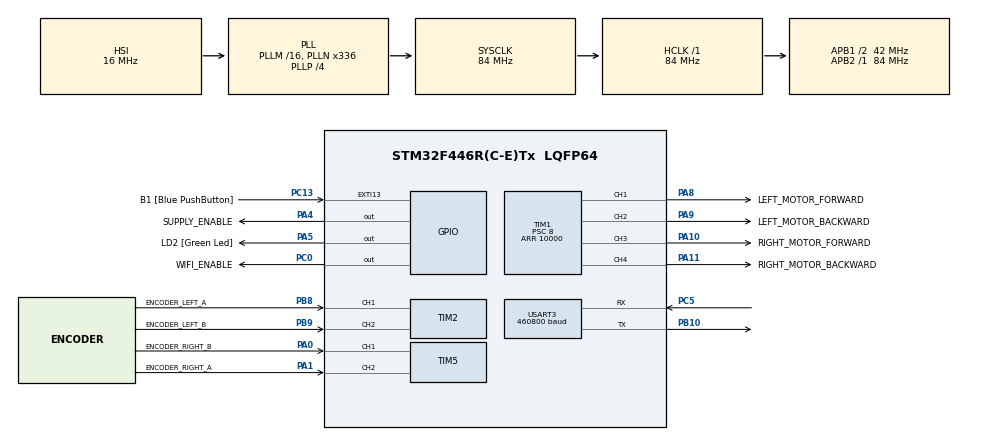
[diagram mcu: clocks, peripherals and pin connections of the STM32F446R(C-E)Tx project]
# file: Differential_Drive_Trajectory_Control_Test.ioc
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Mcu.Family=STM32F4
PH0-OSC_IN.Signal=RCC_OSC_IN
SH.S_TIM1_CH4.0=TIM1_CH4,PWM Generation4 CH4
RCC.CortexFreq_Value=84000000
PB10.Mode=Asynchronous
PA14.GPIO_Label=TCK
TIM5.EncoderMode=TIM_ENCODERMODE_TI1
SH.S_TIM5_CH2.0=TIM5_CH2,Encoder_Interface
PC0.GPIO_Label=WIFI_ENABLE
TIM2.EncoderMode=TIM_ENCODERMODE_TI1
PC5.Mode=Asynchronous
PC13.GPIO_Label=B1 [Blue PushButton]
RCC.SYSCLKSource=RCC_SYSCLKSOURCE_PLLCLK
ProjectManager.StackSize=0x400
TIM1.Prescaler=8
USART3.BaudRate=460800
TIM1.Channel-PWM\ Generation4\ CH4=TIM_CHANNEL_4
RCC.HCLKFreq_Value=84000000
RCC.APB2TimFreq_Value=84000000
TIM3.Period=1000-1
RCC.AHBFreq_Value=84000000
PH0-OSC_IN.Mode=HSE-External-Oscillator
RCC.HSE_VALUE=8000000
PA4.GPIO_PuPd=GPIO_NOPULL
PC14-OSC32_IN.Mode=LSE-External-Oscillator
TIM1.Channel-PWM\ Generation1\ CH1=TIM_CHANNEL_1
PA14.Mode=Serial_Wire
TIM3.Prescaler=840-1
PA10.GPIO_Label=RIGHT_MOTOR_FORWARD
Dma.USART3_TX.0.FIFOMode=DMA_FIFOMODE_DISABLE
PA8.Signal=S_TIM1_CH1
Dma.USART3_TX.0.Mode=DMA_NORMAL
TIM5.IC1Filter=15
Dma.USART3_TX.0.PeriphInc=DMA_PINC_DISABLE
RCC.FLatency-AdvancedSettings=FLASH_LATENCY_2
Dma.USART3_TX.0.MemDataAlignment=DMA_MDATAALIGN_BYTE
PH1-OSC_OUT.Mode=HSE-External-Oscillator
Mcu.Package=LQFP64
PB9.Signal=S_TIM2_CH2
PA2.GPIO_Label=USART_TX
PA10.Signal=S_TIM1_CH3
PA15.Signal=UART4_RTS
Dma.USART3_TX.0.PeriphDataAlignment=DMA_PDATAALIGN_BYTE
RCC.APB1TimFreq_Value=84000000
SH.S_TIM5_CH1.0=TIM5_CH1,Encoder_Interface
PC5.Signal=USART3_RX
TIM1.Period=10000
Dma.Request0=USART3_TX
PA4.GPIO_Label=SUPPLY_ENABLE
VP_TIM3_VS_ClockSourceINT.Mode=Internal
PA3.Signal=USART2_RX
PB3.GPIO_Label=SWO
PC15-OSC32_OUT.Mode=LSE-External-Oscillator
Dma.USART3_TX.0.Instance=DMA1_Stream3
TIM5.IC2Filter=15
PB9.GPIO_Label=ENCODER_LEFT_B
TIM2.IC1Filter=15
Dma.USART3_TX.0.MemInc=DMA_MINC_ENABLE
PC13.Signal=GPXTI13
PA9.GPIO_Label=LEFT_MOTOR_BACKWARD
PA11.GPIO_Label=RIGHT_MOTOR_BACKWARD
PC0.Signal=GPIO_Output
RCC.APB1CLKDivider=RCC_HCLK_DIV2
PC14-OSC32_IN.Signal=RCC_OSC32_IN
Dma.USART3_TX.0.Direction=DMA_MEMORY_TO_PERIPH
PA0-WKUP.GPIO_Label=ENCODER_RIGHT_B
PA0-WKUP.Signal=S_TIM5_CH1
PA13.Signal=SYS_JTMS-SWDIO
PB8.GPIO_Label=ENCODER_LEFT_A
SH.S_TIM2_CH2.0=TIM2_CH2,Encoder_Interface
PA8.GPIO_Label=LEFT_MOTOR_FORWARD
SH.S_TIM1_CH1.0=TIM1_CH1,PWM Generation1 CH1
ProjectManager.TargetToolchain=STM32CubeIDE
PA9.Signal=S_TIM1_CH2
TIM1.Channel-PWM\ Generation2\ CH2=TIM_CHANNEL_2
RCC.USBFreq_Value=168000000
PC15-OSC32_OUT.Signal=RCC_OSC32_OUT
PA1.Signal=S_TIM5_CH2
PB10.Signal=USART3_TX
PA5.Signal=GPIO_Output
board=NUCLEO-F446RE
RCC.VCOOutputFreq_Value=336000000
NVIC.TIM3_IRQn=true\:0\:0\:false\:false\:true\:true\:true
RCC.APB2Freq_Value=84000000
SH.S_TIM1_CH2.0=TIM1_CH2,PWM Generation2 CH2
PA1.GPIO_Label=ENCODER_RIGHT_A
PH1-OSC_OUT.Signal=RCC_OSC_OUT
Dma.USART3_TX.0.Priority=DMA_PRIORITY_HIGH
PA13.Mode=Serial_Wire
Mcu.Name=STM32F446R(C-E)Tx
PA13.GPIO_Label=TMS
PA2.Signal=USART2_TX
RCC.48MHZClocksFreq_Value=84000000
PB3.Signal=SYS_JTDO-SWO
PA4.Signal=GPIO_Output
RCC.SYSCLKFreq_VALUE=84000000
PA5.GPIO_Label=LD2 [Green Led]
PC13.GPIO_ModeDefaultEXTI=GPIO_MODE_IT_FALLING
USART3.VirtualMode=VM_ASYNC
PA11.Signal=S_TIM1_CH4
SH.S_TIM2_CH1_ETR.0=TIM2_CH1,Encoder_Interface
PA14.Signal=SYS_JTCK-SWCLK
ProjectManager.HeapSize=0x200
SH.S_TIM1_CH3.0=TIM1_CH3,PWM Generation3 CH3
RCC.HSI_VALUE=16000000
RCC.PLLP=RCC_PLLP_DIV4
NVIC.PriorityGroup=NVIC_PRIORITYGROUP_4
RCC.PLLN=336
PB8.Signal=S_TIM2_CH1_ETR
NVIC.DMA1_Stream3_IRQn=true\:0\:0\:false\:false\:true\:false\:true
TIM1.Channel-PWM\ Generation3\ CH3=TIM_CHANNEL_3
RCC.APB1Freq_Value=42000000
TIM2.IC2Filter=15
PA3.GPIO_Label=USART_RX

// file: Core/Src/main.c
/* USER CODE BEGIN Header */
/**
  ******************************************************************************
  * @file           : main.c
  * @brief          : Main program body
  ******************************************************************************
  * @attention
  *
  * <h2><center>&copy; Copyright (c) 2021 STMicroelectronics.
  * All rights reserved.</center></h2>
  *
  * This software component is licensed by ST under BSD 3-Clause license,
  * the "License"; You may not use this file except in compliance with the
  * License. You may obtain a copy of the License at:
  *                        opensource.org/licenses/BSD-3-Clause
  *
  ******************************************************************************
  */
/* USER CODE END Header */
#include "main.h"

/* USER CODE BEGIN Includes */

#include "my_lib/differential_drive.h"
#include "my_lib/retarget.h"
#include "my_lib/datastream.h"

#include "my_data/idinput.h"
#include "my_data/reference.h"
#include "my_data/identification.h"

#include <stdio.h>
#include <stdlib.h>

#include "arm_math.h"
/* USER CODE END Includes */

/* USER CODE BEGIN PD */

/*---------- DEFINES used to change code behavior ---------------------------*/

/* Only Sensor check (uncomment below, highest priority) */
//#define SENSOR_CHECK

/* Using a trajectory to be followed */
#define TRAJECTORY_TRACKING

/* Using an input voltage for motors identification */
#define IDENTIFICATION

// Priority to trajectory tracking behavior respect of identification
#ifdef TRAJECTORY_TRACKING
#undef IDENTIFICATION
#endif /* TRAJECTORY_TRACKING */

#ifdef IDENTIFICATION

// Just one of these defines uncommented
//#define TRIANGLE_INPUT
#define SMOOTH_INPUT

#endif /* IDENTIFICATION */

/* ---------------------------------------------------------------------------*/

/* USER CODE END PD */

TIM_HandleTypeDef htim1;
TIM_HandleTypeDef htim2;
TIM_HandleTypeDef htim3;
TIM_HandleTypeDef htim5;

UART_HandleTypeDef huart3;
DMA_HandleTypeDef hdma_usart3_tx;

/* USER CODE BEGIN PV */

DIFFDRIVE_HandleTypeDef hdiffdrive;

// Debug variable
int check= 0;

/* USER CODE END PV */

void SystemClock_Config(void);
static void MX_GPIO_Init(void);
static void MX_DMA_Init(void);
static void MX_TIM2_Init(void);
static void MX_TIM1_Init(void);
static void MX_TIM3_Init(void);
static void MX_TIM5_Init(void);
static void MX_USART3_UART_Init(void);
/* USER CODE BEGIN PFP */

static void MAIN_DIFFDRIVE_Init(void);

/* USER CODE END PFP */

int main(void)
{

  /* MCU Configuration--------------------------------------------------------*/

  /* Reset of all peripherals, Initializes the Flash interface and the Systick. */
  HAL_Init();

  /* Configure the system clock */
  SystemClock_Config();

  /* Initialize all configured peripherals */
  MX_GPIO_Init();
  MX_DMA_Init();
  MX_TIM2_Init();
  MX_TIM1_Init();
  MX_TIM3_Init();
  MX_TIM5_Init();
  MX_USART3_UART_Init();
  /* USER CODE BEGIN 2 */

  DATASTREAM_Init(&huart3);

  MAIN_DIFFDRIVE_Init();

#ifdef TRAJECTORY_TRACKING

  // Wait until blue button is pressed
  while( HAL_GPIO_ReadPin(B1_GPIO_Port, B1_Pin) )
  		;

  // Enable WIFI to send/receive values
  HAL_GPIO_WritePin(WIFI_ENABLE_GPIO_Port, WIFI_ENABLE_Pin, GPIO_PIN_SET);

  // Wait for ESP boot
  HAL_Delay(3000);

  // Rapidly flash led to show MCU ready to send values
  for(int i=0; i<20; i++){
	  HAL_GPIO_TogglePin(LD2_GPIO_Port, LD2_Pin);
	  HAL_Delay(50);
  }

  // Wait for 10 received chars
  char ch[10];
  HAL_UART_Receive(&huart3, (uint8_t*) ch, sizeof(ch), HAL_MAX_DELAY);

  // LED on
  HAL_GPIO_WritePin(LD2_GPIO_Port, LD2_Pin, GPIO_PIN_SET);

  // Wait a bit more
  HAL_Delay(3000);

  // LED off
  HAL_GPIO_WritePin(LD2_GPIO_Port, LD2_Pin, GPIO_PIN_RESET);

#endif /* TRAJECTORY_TRACKING */

  // HAL_TIM_Base_Start_IT(&htim3);

  /* USER CODE END 2 */

  /* Infinite loop */
  /* USER CODE BEGIN WHILE */

#ifdef IDENTIFICATION

  // Allocating input vectors
  float **input= (float**)malloc(sizeof(float*)*2);
  for(int i=0; i<2; i++)
	  input[i]= (float*)malloc(sizeof(float)*N_SAMPLE_ID);

#ifdef TRIANGLE_INPUT

  for(int i=0; i<N_SAMPLE_ID; i++){
	  input[left ][i]= TRIANGLE_input_L[i]*MOTOR_MAX_VOLTAGE;
	  input[right][i]= TRIANGLE_input_R[i]*MOTOR_MAX_VOLTAGE;
  }

#endif /* TRIANGLE_INPUT */

#ifdef SMOOTH_INPUT

  for(int i=0; i<N_SAMPLE_ID; i++){
	  input[left ][i]= SMOOTH_input_L[i]*MOTOR_MAX_VOLTAGE;
	  input[right][i]= SMOOTH_input_R[i]*MOTOR_MAX_VOLTAGE;
  }

#endif /*SMOOTH_INPUT */

#endif /* IDENTIFICATION */

#ifdef SENSOR_CHECK
  int i=0;
#else
  // Enabling motion
  bool motion_flag= true;
#endif /* SENSOR_CHECK */

  // Wait until the blue button is pressed
  while( HAL_GPIO_ReadPin(B1_GPIO_Port, B1_Pin) )
	  __NOP();

  HAL_Delay(1000);

  // Reset Sensors
  DIFFDRIVE_ENCODER_Reset();

  while (1)
  {

#ifdef SENSOR_CHECK

      DIFFDRIVE_ENCODER_CaptureMeasure();

	  if( !(i%100) )
		  DIFFDRIVE_MOTOR_SetPWMs((float[2]){ -MOTOR_MAX_VOLTAGE*0.5, -MOTOR_MAX_VOLTAGE*0.5});
	  if( !(i%150) )
		  DIFFDRIVE_MOTOR_SetPWMs((float[2]){ -MOTOR_MAX_VOLTAGE*0.7, -MOTOR_MAX_VOLTAGE*0.7});

	  printf("%f\t", __DIFFDRIVE_ENCODER_GET_CURRENT_VALUE(&hdiffdrive,left ));
	  printf("%f\n", __DIFFDRIVE_ENCODER_GET_CURRENT_VALUE(&hdiffdrive,right));

	  HAL_Delay(10);

	  i++;

	  DATASTREAM_SendValue(
			  stream_on_terminal, 4,
			  "L Counter %f\n", __DIFFDRIVE_ENCODER_GET_CURRENT_VALUE(&hdiffdrive,left ),
			  "R Counter %f\n", __DIFFDRIVE_ENCODER_GET_CURRENT_VALUE(&hdiffdrive,right)
	  );
	  HAL_Delay(500);

#else

	if( motion_flag ){

#ifdef TRAJECTORY_TRACKING

		// First values send is the actual number of samples
		DATASTREAM_SendValue(stream_on_matlab, 1, (double)N_SAMPLE_REF);
		// Bit of transfer delay
		HAL_Delay(8);

		DIFFDRIVE_TrackingStart();

		for(int i= 0; i<N_SAMPLE_REF; i++){
			// Make a control step
			DIFFDRIVE_TrackingStep(DELTA_A_ref[i], DELTA_THETA_ref[i]);

			// Temporary variables
			DIFFDRIVE_STATE_TypeDef state_measure, state_target;

			// Get one state sample from history
			DIFFDRIVE_HISTORY_Get_Sample(&state_measure, &state_target);

			// Send values to serial connected to ESP WiFi module
			DATASTREAM_SendValue(
					stream_on_matlab, 14,
					state_measure.input[left], state_measure.input[right],
					state_target .input[left], state_target .input[right],
					state_measure.wheel[left], state_measure.wheel[right],
					state_target .wheel[left], state_target .wheel[right],
					state_measure.pose.x_a,    state_measure.pose.y_a,
					state_measure.pose.theta,
					state_target .pose.x_a,    state_target.pose.y_a,
					state_target .pose.theta
			);

		}

		// Stop differential drive
		DIFFDRIVE_TrackingStop();

		// Disable WiFi
		HAL_GPIO_WritePin(WIFI_ENABLE_GPIO_Port, WIFI_ENABLE_Pin, GPIO_PIN_RESET);

#endif /* TRAJECTORY_TRACKING */

#ifdef IDENTIFICATION

		DIFFDRIVE_InputArray(N_SAMPLE_ID, input);

#endif /* IDENTIFICATION */

		// Stop motion
		motion_flag= false;

	}
	else{

		// Start sending values Task if blue button is pressed
		if( !HAL_GPIO_ReadPin(B1_GPIO_Port, B1_Pin) ){

			// Enable WIFI to send/receive values
			HAL_GPIO_WritePin(WIFI_ENABLE_GPIO_Port, WIFI_ENABLE_Pin, GPIO_PIN_SET);

			// Wait for ESP boot
			HAL_Delay(3000);

			// Rapidly flash led to show MCU ready to send values
			for(int i=0; i<20; i++){
				HAL_GPIO_TogglePin(LD2_GPIO_Port, LD2_Pin);
				HAL_Delay(50);
			}

			// Wait for 10 received chars
			char ch[10];
			HAL_UART_Receive(&huart3, (uint8_t*) ch, sizeof(ch), HAL_MAX_DELAY);

			// LED on
			HAL_GPIO_WritePin(LD2_GPIO_Port, LD2_Pin, GPIO_PIN_SET);

			// Wait a bit more
			HAL_Delay(3000);

			// LED off
			HAL_GPIO_WritePin(LD2_GPIO_Port, LD2_Pin, GPIO_PIN_RESET);

			// History struct
			DIFFDRIVE_HISTORY_TypeDef tmphist= hdiffdrive.history;

			// Number of saved samples
			uint32_t N_sample;
			if( tmphist.sample_cnt < tmphist.max_sample )
				N_sample=  tmphist.sample_cnt;
			else
				N_sample=  tmphist.max_sample;

			// First values send is the actual number of samples
			DATASTREAM_SendValue(stream_on_matlab, 1, (double)N_sample);
			// Bit of transfer delay
			HAL_Delay(8);

			// Init History Get function
			DIFFDRIVE_HISTORY_Get_Init();

			for(int k= 0; k < N_sample; k++){
				// Temporary variables
				DIFFDRIVE_STATE_TypeDef state_measure, state_target;

				// Get one state sample from history
				DIFFDRIVE_HISTORY_Get_Sample(&state_measure, &state_target);

				// Send values to serial connected to ESP WiFi module
				DATASTREAM_SendValue(
						stream_on_matlab, 14,
						state_measure.input[left], state_measure.input[right],
						state_target .input[left], state_target .input[right],
						state_measure.wheel[left], state_measure.wheel[right],
						state_target .wheel[left], state_target .wheel[right],
						state_measure.pose.x_a,    state_measure.pose.y_a,
						state_measure.pose.theta,
						state_target .pose.x_a,    state_target.pose.y_a,
						state_target .pose.theta
				);
				// Bit of transfer delay
				HAL_Delay(8);
				// Toggling led to show data transfer operation
				if( !(k%50) )
					HAL_GPIO_TogglePin(LD2_GPIO_Port, LD2_Pin);
			}

			// Turn off LED
			HAL_GPIO_WritePin(LD2_GPIO_Port, LD2_Pin, GPIO_PIN_RESET);

			// Disable WiFi
			HAL_GPIO_WritePin(WIFI_ENABLE_GPIO_Port, WIFI_ENABLE_Pin, GPIO_PIN_RESET);

		}
	}

#endif /* SENSOR_CHECK */

    /* USER CODE END WHILE */

  }
}

void SystemClock_Config(void)
{
  RCC_OscInitTypeDef RCC_OscInitStruct = {0};
  RCC_ClkInitTypeDef RCC_ClkInitStruct = {0};

  /** Configure the main internal regulator output voltage
  */
  __HAL_RCC_PWR_CLK_ENABLE();
  __HAL_PWR_VOLTAGESCALING_CONFIG(PWR_REGULATOR_VOLTAGE_SCALE3);
  /** Initializes the RCC Oscillators according to the specified parameters
  * in the RCC_OscInitTypeDef structure.
  */
  RCC_OscInitStruct.OscillatorType = RCC_OSCILLATORTYPE_HSI;
  RCC_OscInitStruct.HSIState = RCC_HSI_ON;
  RCC_OscInitStruct.HSICalibrationValue = RCC_HSICALIBRATION_DEFAULT;
  RCC_OscInitStruct.PLL.PLLState = RCC_PLL_ON;
  RCC_OscInitStruct.PLL.PLLSource = RCC_PLLSOURCE_HSI;
  RCC_OscInitStruct.PLL.PLLM = 16;
  RCC_OscInitStruct.PLL.PLLN = 336;
  RCC_OscInitStruct.PLL.PLLP = RCC_PLLP_DIV4;
  RCC_OscInitStruct.PLL.PLLQ = 2;
  RCC_OscInitStruct.PLL.PLLR = 2;
  if (HAL_RCC_OscConfig(&RCC_OscInitStruct) != HAL_OK)
  {
    Error_Handler();
  }
  /** Initializes the CPU, AHB and APB buses clocks
  */
  RCC_ClkInitStruct.ClockType = RCC_CLOCKTYPE_HCLK|RCC_CLOCKTYPE_SYSCLK
                              |RCC_CLOCKTYPE_PCLK1|RCC_CLOCKTYPE_PCLK2;
  RCC_ClkInitStruct.SYSCLKSource = RCC_SYSCLKSOURCE_PLLCLK;
  RCC_ClkInitStruct.AHBCLKDivider = RCC_SYSCLK_DIV1;
  RCC_ClkInitStruct.APB1CLKDivider = RCC_HCLK_DIV2;
  RCC_ClkInitStruct.APB2CLKDivider = RCC_HCLK_DIV1;

  if (HAL_RCC_ClockConfig(&RCC_ClkInitStruct, FLASH_LATENCY_2) != HAL_OK)
  {
    Error_Handler();
  }
}

static void MX_TIM1_Init(void)
{

  TIM_MasterConfigTypeDef sMasterConfig = {0};
  TIM_OC_InitTypeDef sConfigOC = {0};
  TIM_BreakDeadTimeConfigTypeDef sBreakDeadTimeConfig = {0};

  htim1.Instance = TIM1;
  htim1.Init.Prescaler = 8;
  htim1.Init.CounterMode = TIM_COUNTERMODE_UP;
  htim1.Init.Period = 10000;
  htim1.Init.ClockDivision = TIM_CLOCKDIVISION_DIV1;
  htim1.Init.RepetitionCounter = 0;
  htim1.Init.AutoReloadPreload = TIM_AUTORELOAD_PRELOAD_DISABLE;
  if (HAL_TIM_PWM_Init(&htim1) != HAL_OK)
  {
    Error_Handler();
  }
  sMasterConfig.MasterOutputTrigger = TIM_TRGO_RESET;
  sMasterConfig.MasterSlaveMode = TIM_MASTERSLAVEMODE_DISABLE;
  if (HAL_TIMEx_MasterConfigSynchronization(&htim1, &sMasterConfig) != HAL_OK)
  {
    Error_Handler();
  }
  sConfigOC.OCMode = TIM_OCMODE_PWM1;
  sConfigOC.Pulse = 0;
  sConfigOC.OCPolarity = TIM_OCPOLARITY_HIGH;
  sConfigOC.OCNPolarity = TIM_OCNPOLARITY_HIGH;
  sConfigOC.OCFastMode = TIM_OCFAST_DISABLE;
  sConfigOC.OCIdleState = TIM_OCIDLESTATE_RESET;
  sConfigOC.OCNIdleState = TIM_OCNIDLESTATE_RESET;
  if (HAL_TIM_PWM_ConfigChannel(&htim1, &sConfigOC, TIM_CHANNEL_1) != HAL_OK)
  {
    Error_Handler();
  }
  if (HAL_TIM_PWM_ConfigChannel(&htim1, &sConfigOC, TIM_CHANNEL_2) != HAL_OK)
  {
    Error_Handler();
  }
  if (HAL_TIM_PWM_ConfigChannel(&htim1, &sConfigOC, TIM_CHANNEL_3) != HAL_OK)
  {
    Error_Handler();
  }
  if (HAL_TIM_PWM_ConfigChannel(&htim1, &sConfigOC, TIM_CHANNEL_4) != HAL_OK)
  {
    Error_Handler();
  }
  sBreakDeadTimeConfig.OffStateRunMode = TIM_OSSR_DISABLE;
  sBreakDeadTimeConfig.OffStateIDLEMode = TIM_OSSI_DISABLE;
  sBreakDeadTimeConfig.LockLevel = TIM_LOCKLEVEL_OFF;
  sBreakDeadTimeConfig.DeadTime = 0;
  sBreakDeadTimeConfig.BreakState = TIM_BREAK_DISABLE;
  sBreakDeadTimeConfig.BreakPolarity = TIM_BREAKPOLARITY_HIGH;
  sBreakDeadTimeConfig.AutomaticOutput = TIM_AUTOMATICOUTPUT_DISABLE;
  if (HAL_TIMEx_ConfigBreakDeadTime(&htim1, &sBreakDeadTimeConfig) != HAL_OK)
  {
    Error_Handler();
  }
  HAL_TIM_MspPostInit(&htim1);

}

static void MX_TIM2_Init(void)
{

  TIM_Encoder_InitTypeDef sConfig = {0};
  TIM_MasterConfigTypeDef sMasterConfig = {0};

  htim2.Instance = TIM2;
  htim2.Init.Prescaler = 0;
  htim2.Init.CounterMode = TIM_COUNTERMODE_UP;
  htim2.Init.Period = 4294967295;
  htim2.Init.ClockDivision = TIM_CLOCKDIVISION_DIV1;
  htim2.Init.AutoReloadPreload = TIM_AUTORELOAD_PRELOAD_DISABLE;
  sConfig.EncoderMode = TIM_ENCODERMODE_TI1;
  sConfig.IC1Polarity = TIM_ICPOLARITY_RISING;
  sConfig.IC1Selection = TIM_ICSELECTION_DIRECTTI;
  sConfig.IC1Prescaler = TIM_ICPSC_DIV1;
  sConfig.IC1Filter = 15;
  sConfig.IC2Polarity = TIM_ICPOLARITY_RISING;
  sConfig.IC2Selection = TIM_ICSELECTION_DIRECTTI;
  sConfig.IC2Prescaler = TIM_ICPSC_DIV1;
  sConfig.IC2Filter = 15;
  if (HAL_TIM_Encoder_Init(&htim2, &sConfig) != HAL_OK)
  {
    Error_Handler();
  }
  sMasterConfig.MasterOutputTrigger = TIM_TRGO_RESET;
  sMasterConfig.MasterSlaveMode = TIM_MASTERSLAVEMODE_DISABLE;
  if (HAL_TIMEx_MasterConfigSynchronization(&htim2, &sMasterConfig) != HAL_OK)
  {
    Error_Handler();
  }

}

static void MX_TIM3_Init(void)
{

  TIM_ClockConfigTypeDef sClockSourceConfig = {0};
  TIM_MasterConfigTypeDef sMasterConfig = {0};

  htim3.Instance = TIM3;
  htim3.Init.Prescaler = 840-1;
  htim3.Init.CounterMode = TIM_COUNTERMODE_UP;
  htim3.Init.Period = 1000-1;
  htim3.Init.ClockDivision = TIM_CLOCKDIVISION_DIV1;
  htim3.Init.AutoReloadPreload = TIM_AUTORELOAD_PRELOAD_DISABLE;
  if (HAL_TIM_Base_Init(&htim3) != HAL_OK)
  {
    Error_Handler();
  }
  sClockSourceConfig.ClockSource = TIM_CLOCKSOURCE_INTERNAL;
  if (HAL_TIM_ConfigClockSource(&htim3, &sClockSourceConfig) != HAL_OK)
  {
    Error_Handler();
  }
  sMasterConfig.MasterOutputTrigger = TIM_TRGO_RESET;
  sMasterConfig.MasterSlaveMode = TIM_MASTERSLAVEMODE_DISABLE;
  if (HAL_TIMEx_MasterConfigSynchronization(&htim3, &sMasterConfig) != HAL_OK)
  {
    Error_Handler();
  }

}

static void MX_TIM5_Init(void)
{

  TIM_Encoder_InitTypeDef sConfig = {0};
  TIM_MasterConfigTypeDef sMasterConfig = {0};

  htim5.Instance = TIM5;
  htim5.Init.Prescaler = 0;
  htim5.Init.CounterMode = TIM_COUNTERMODE_UP;
  htim5.Init.Period = 4294967295;
  htim5.Init.ClockDivision = TIM_CLOCKDIVISION_DIV1;
  htim5.Init.AutoReloadPreload = TIM_AUTORELOAD_PRELOAD_DISABLE;
  sConfig.EncoderMode = TIM_ENCODERMODE_TI1;
  sConfig.IC1Polarity = TIM_ICPOLARITY_RISING;
  sConfig.IC1Selection = TIM_ICSELECTION_DIRECTTI;
  sConfig.IC1Prescaler = TIM_ICPSC_DIV1;
  sConfig.IC1Filter = 15;
  sConfig.IC2Polarity = TIM_ICPOLARITY_RISING;
  sConfig.IC2Selection = TIM_ICSELECTION_DIRECTTI;
  sConfig.IC2Prescaler = TIM_ICPSC_DIV1;
  sConfig.IC2Filter = 15;
  if (HAL_TIM_Encoder_Init(&htim5, &sConfig) != HAL_OK)
  {
    Error_Handler();
  }
  sMasterConfig.MasterOutputTrigger = TIM_TRGO_RESET;
  sMasterConfig.MasterSlaveMode = TIM_MASTERSLAVEMODE_DISABLE;
  if (HAL_TIMEx_MasterConfigSynchronization(&htim5, &sMasterConfig) != HAL_OK)
  {
    Error_Handler();
  }

}

static void MX_USART3_UART_Init(void)
{

  huart3.Instance = USART3;
  huart3.Init.BaudRate = 460800;
  huart3.Init.WordLength = UART_WORDLENGTH_8B;
  huart3.Init.StopBits = UART_STOPBITS_1;
  huart3.Init.Parity = UART_PARITY_NONE;
  huart3.Init.Mode = UART_MODE_TX_RX;
  huart3.Init.HwFlowCtl = UART_HWCONTROL_NONE;
  huart3.Init.OverSampling = UART_OVERSAMPLING_16;
  if (HAL_UART_Init(&huart3) != HAL_OK)
  {
    Error_Handler();
  }

}

static void MX_DMA_Init(void)
{

  /* DMA controller clock enable */
  __HAL_RCC_DMA1_CLK_ENABLE();

  /* DMA interrupt init */
  /* DMA1_Stream3_IRQn interrupt configuration */
  HAL_NVIC_SetPriority(DMA1_Stream3_IRQn, 0, 0);
  HAL_NVIC_EnableIRQ(DMA1_Stream3_IRQn);

}

static void MX_GPIO_Init(void)
{
  GPIO_InitTypeDef GPIO_InitStruct = {0};

  /* GPIO Ports Clock Enable */
  __HAL_RCC_GPIOC_CLK_ENABLE();
  __HAL_RCC_GPIOH_CLK_ENABLE();
  __HAL_RCC_GPIOA_CLK_ENABLE();
  __HAL_RCC_GPIOB_CLK_ENABLE();

  /*Configure GPIO pin Output Level */
  HAL_GPIO_WritePin(WIFI_ENABLE_GPIO_Port, WIFI_ENABLE_Pin, GPIO_PIN_RESET);

  /*Configure GPIO pin Output Level */
  HAL_GPIO_WritePin(GPIOA, SUPPLY_ENABLE_Pin|LD2_Pin, GPIO_PIN_RESET);

  /*Configure GPIO pin : B1_Pin */
  GPIO_InitStruct.Pin = B1_Pin;
  GPIO_InitStruct.Mode = GPIO_MODE_IT_FALLING;
  GPIO_InitStruct.Pull = GPIO_NOPULL;
  HAL_GPIO_Init(B1_GPIO_Port, &GPIO_InitStruct);

  /*Configure GPIO pin : WIFI_ENABLE_Pin */
  GPIO_InitStruct.Pin = WIFI_ENABLE_Pin;
  GPIO_InitStruct.Mode = GPIO_MODE_OUTPUT_PP;
  GPIO_InitStruct.Pull = GPIO_NOPULL;
  GPIO_InitStruct.Speed = GPIO_SPEED_FREQ_LOW;
  HAL_GPIO_Init(WIFI_ENABLE_GPIO_Port, &GPIO_InitStruct);

  /*Configure GPIO pins : USART_TX_Pin USART_RX_Pin */
  GPIO_InitStruct.Pin = USART_TX_Pin|USART_RX_Pin;
  GPIO_InitStruct.Mode = GPIO_MODE_AF_PP;
  GPIO_InitStruct.Pull = GPIO_NOPULL;
  GPIO_InitStruct.Speed = GPIO_SPEED_FREQ_VERY_HIGH;
  GPIO_InitStruct.Alternate = GPIO_AF7_USART2;
  HAL_GPIO_Init(GPIOA, &GPIO_InitStruct);

  /*Configure GPIO pins : SUPPLY_ENABLE_Pin LD2_Pin */
  GPIO_InitStruct.Pin = SUPPLY_ENABLE_Pin|LD2_Pin;
  GPIO_InitStruct.Mode = GPIO_MODE_OUTPUT_PP;
  GPIO_InitStruct.Pull = GPIO_NOPULL;
  GPIO_InitStruct.Speed = GPIO_SPEED_FREQ_LOW;
  HAL_GPIO_Init(GPIOA, &GPIO_InitStruct);

  /*Configure GPIO pin : PA15 */
  GPIO_InitStruct.Pin = GPIO_PIN_15;
  GPIO_InitStruct.Mode = GPIO_MODE_AF_PP;
  GPIO_InitStruct.Pull = GPIO_NOPULL;
  GPIO_InitStruct.Speed = GPIO_SPEED_FREQ_VERY_HIGH;
  GPIO_InitStruct.Alternate = GPIO_AF8_UART4;
  HAL_GPIO_Init(GPIOA, &GPIO_InitStruct);

}

/* USER CODE BEGIN 4 */

static void MAIN_DIFFDRIVE_Init(void){

	float Ts= 0.01;
	int max_sample= 1400;

	hdiffdrive.Init.timing_htim= &htim3;
	hdiffdrive.Init.timing_time_step= Ts;

	hdiffdrive.Init.encoder_htim[left ]= &htim2;
	hdiffdrive.Init.encoder_htim[right]= &htim5;
	hdiffdrive.Init.encoder_channel[left ]= TIM_CHANNEL_1;
	hdiffdrive.Init.encoder_channel[right]= TIM_CHANNEL_1;

	hdiffdrive.Init.encoder_resolution[left ]= 1900; // Number of step each wheel revolution
	hdiffdrive.Init.encoder_resolution[right]= 1900;

	hdiffdrive.Init.motor_htim[left ][forward ]= &htim1;
	hdiffdrive.Init.motor_htim[left ][backward]= &htim1;
	hdiffdrive.Init.motor_htim[right][forward ]= &htim1;
	hdiffdrive.Init.motor_htim[right][backward]= &htim1;

	hdiffdrive.Init.motor_pwm_channel[left ][forward ]= TIM_CHANNEL_1;
	hdiffdrive.Init.motor_pwm_channel[left ][backward]= TIM_CHANNEL_2;
	hdiffdrive.Init.motor_pwm_channel[right][forward ]= TIM_CHANNEL_3;
	hdiffdrive.Init.motor_pwm_channel[right][backward]= TIM_CHANNEL_4;

	hdiffdrive.Init.motor_max_voltage[left ]= 	  MOTOR_MAX_VOLTAGE;
	hdiffdrive.Init.motor_max_voltage[right]= 	  MOTOR_MAX_VOLTAGE;
	hdiffdrive.Init.motor_min_voltage[left ]= 	  MOTOR_MIN_VOLTAGE;
	hdiffdrive.Init.motor_min_voltage[right]= 	  MOTOR_MIN_VOLTAGE;
	hdiffdrive.Init.motor_supply_voltage[left]=   SUPPLY_VOLTAGE;
	hdiffdrive.Init.motor_supply_voltage[right]=  SUPPLY_VOLTAGE;

	hdiffdrive.Init.control_fdfrwrd_arma_AR[left ]= AR_L;
	hdiffdrive.Init.control_fdfrwrd_arma_AR[right]= AR_R;
	hdiffdrive.Init.control_fdfrwrd_arma_MA[left ]= MA_L;
	hdiffdrive.Init.control_fdfrwrd_arma_MA[right]= MA_R;
	hdiffdrive.Init.control_fdfrwrd_arma_n_ar[left ]= N_AR_L;
	hdiffdrive.Init.control_fdfrwrd_arma_n_ar[right]= N_AR_R;
	hdiffdrive.Init.control_fdfrwrd_arma_n_ma[left ]= N_MA_L;
	hdiffdrive.Init.control_fdfrwrd_arma_n_ma[right]= N_MA_R;
	hdiffdrive.Init.control_fdfrwrd_arma_tau[left ]= TAU_L;
	hdiffdrive.Init.control_fdfrwrd_arma_tau[right]= TAU_R;

	hdiffdrive.Init.control_pid_P[left ]= 40;  //33.3;
	hdiffdrive.Init.control_pid_P[right]= 40;  //33.3;
	hdiffdrive.Init.control_pid_I[left ]= 8;   //7.6;
	hdiffdrive.Init.control_pid_I[right]= 8;   //7.6;
	hdiffdrive.Init.control_pid_D[left ]= 0;
	hdiffdrive.Init.control_pid_D[right]= 0;

	hdiffdrive.Init.history_max_sample= max_sample;

	hdiffdrive.Init.mech_prmtr_l=               0.156/2;
	hdiffdrive.Init.mech_prmtr_r=               0.0695/2;
	hdiffdrive.Init.mech_prmtr_max_wheel_speed= 16;      // 16 rad/s, from DC motor specifics

	DIFFDRIVE_Init(&hdiffdrive);

}

/* USER CODE END 4 */

void Error_Handler(void)
{
  __disable_irq();
  while (1)
  {
  }
}

/************************ (C) COPYRIGHT STMicroelectronics *****END OF FILE****/
